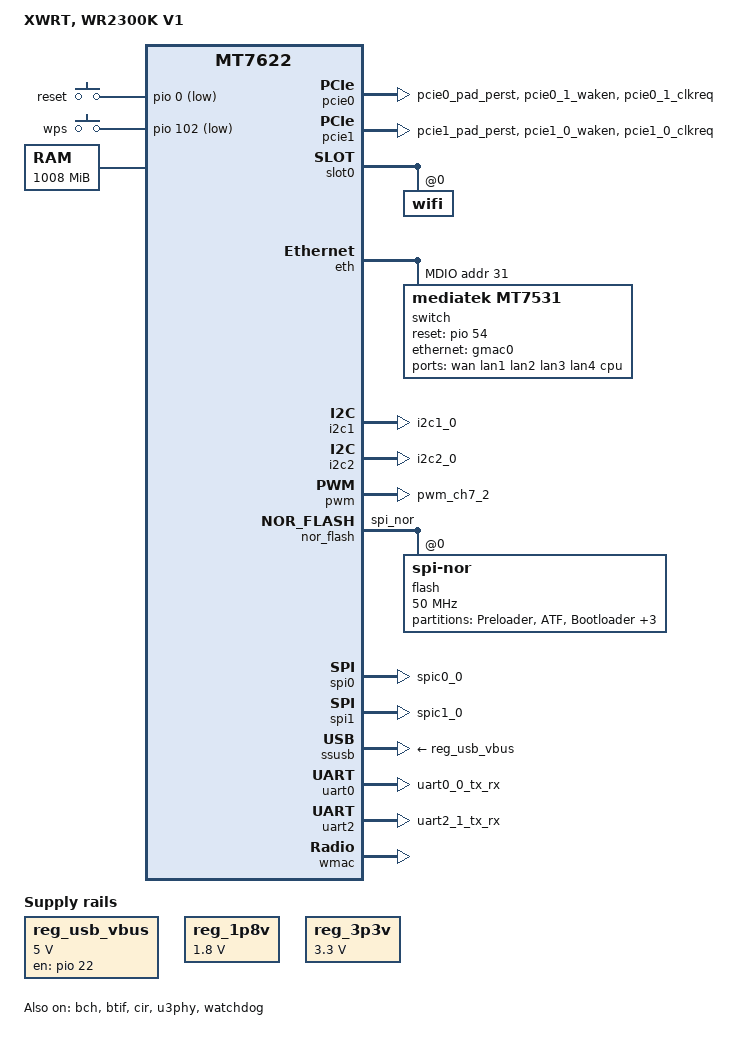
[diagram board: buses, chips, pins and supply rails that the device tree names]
// SPDX-License-Identifier: (GPL-2.0-only OR MIT)
/*
 * Copyright (c) 2017 MediaTek Inc.
 * Author: Ming Huang <ming.huang@mediatek.com>
 *	   Sean Wang <sean.wang@mediatek.com>
 */

/dts-v1/;
#include <dt-bindings/input/input.h>
#include <dt-bindings/gpio/gpio.h>

#include "mt7622.dtsi"
#include "mt6380.dtsi"

/ {
	model = "XWRT, WR2300K V1";
	compatible = "xwrt,wr3200k-v1", "mediatek,mt7622";

	aliases {
		serial0 = &uart0;
	};

	chosen {
		stdout-path = "serial0:115200n8";
		bootargs = "earlycon=uart8250,mmio32,0x11002000 swiotlb=512 console=ttyS0,115200n8";
	};

	cpus {
		cpu@0 {
			proc-supply = <&mt6380_vcpu_reg>;
			sram-supply = <&mt6380_vm_reg>;
		};

		cpu@1 {
			proc-supply = <&mt6380_vcpu_reg>;
			sram-supply = <&mt6380_vm_reg>;
		};
	};

	gpio-keys {
		compatible = "gpio-keys";
		poll-interval = <100>;

		reset {
			label = "reset";
			linux,code = <KEY_RESTART>;
			gpios = <&pio 0 GPIO_ACTIVE_LOW>;
		};

		wps {
			label = "wps";
			linux,code = <KEY_WPS_BUTTON>;
			gpios = <&pio 102 GPIO_ACTIVE_LOW>;
		};
	};

	reg_usb_vbus: regulator {
		compatible = "regulator-fixed";
		regulator-name = "usb_vbus";
		regulator-min-microvolt = <5000000>;
		regulator-max-microvolt = <5000000>;
		gpio = <&pio 22 GPIO_ACTIVE_LOW>;
		enable-active-high;
	};

	memory {
		reg = <0 0x40000000 0 0x3F000000>;
	};

	reg_1p8v: regulator-1p8v {
		compatible = "regulator-fixed";
		regulator-name = "fixed-1.8V";
		regulator-min-microvolt = <1800000>;
		regulator-max-microvolt = <1800000>;
		regulator-always-on;
	};

	reg_3p3v: regulator-3p3v {
		compatible = "regulator-fixed";
		regulator-name = "fixed-3.3V";
		regulator-min-microvolt = <3300000>;
		regulator-max-microvolt = <3300000>;
		regulator-boot-on;
		regulator-always-on;
	};
};

&pcie0 {
	pinctrl-names = "default";
	pinctrl-0 = <&pcie0_pins>;
	status = "okay";
};

&pcie1 {
	pinctrl-names = "default";
	pinctrl-0 = <&pcie1_pins>;
	status = "okay";
};

&slot0 {
	wifi@0,0 {
		reg = <0x0 0 0 0 0>;
		mediatek,mtd-eeprom = <&factory 0x05000>;
		ieee80211-freq-limit = <5000000 6000000>;
	};
};

&pio {
	i2c1_pins: i2c1-pins {
		mux {
			function = "i2c";
			groups =  "i2c1_0";
		};
	};

	i2c2_pins: i2c2-pins {
		mux {
			function = "i2c";
			groups =  "i2c2_0";
		};
	};

	irrx_pins: irrx-pins {
		mux {
			function = "ir";
			groups =  "ir_1_rx";
		};
	};

	irtx_pins: irtx-pins {
		mux {
			function = "ir";
			groups =  "ir_1_tx";
		};
	};

	pcie0_pins: pcie0-pins {
		mux {
			function = "pcie";
			groups = "pcie0_pad_perst",
				 "pcie0_1_waken",
				 "pcie0_1_clkreq";
		};
	};

	pcie1_pins: pcie1-pins {
		mux {
			function = "pcie";
			groups = "pcie1_pad_perst",
				 "pcie1_0_waken",
				 "pcie1_0_clkreq";
		};
	};

	wled_pins: wled-pins {
		mux {
			function = "led";
			groups = "wled";
		};
	};

	pmic_bus_pins: pmic-bus-pins {
		mux {
			function = "pmic";
			groups = "pmic_bus";
		};
	};

	pwm7_pins: pwm1-2-pins {
		mux {
			function = "pwm";
			groups = "pwm_ch7_2";
		};
	};

	spic0_pins: spic0-pins {
		mux {
			function = "spi";
			groups = "spic0_0";
		};
	};

	spic1_pins: spic1-pins {
		mux {
			function = "spi";
			groups = "spic1_0";
		};
	};

	/* SPI-NOR is shared pin with serial NAND */
	spi_nor_pins: spi-nor-pins {
		mux {
			function = "flash";
			groups = "spi_nor";
		};
	};

	uart0_pins: uart0-pins {
		mux {
			function = "uart";
			groups = "uart0_0_tx_rx" ;
		};
	};

	uart2_pins: uart2-pins {
		mux {
			function = "uart";
			groups = "uart2_1_tx_rx" ;
		};
	};

	watchdog_pins: watchdog-pins {
		mux {
			function = "watchdog";
			groups = "watchdog";
		};
	};
};

&bch {
	status = "okay";
};

&btif {
	status = "okay";
};

&cir {
	pinctrl-names = "default";
	pinctrl-0 = <&irrx_pins>;
	status = "okay";
};

&eth {
	status = "okay";

	gmac0: mac@0 {
		compatible = "mediatek,eth-mac";
		reg = <0>;
		phy-mode = "2500base-x";
		nvmem-cells = <&macaddr_factory_4>;
		nvmem-cell-names = "mac-address";

		fixed-link {
			speed = <2500>;
			full-duplex;
			pause;
		};
	};

	mdio: mdio-bus {
		#address-cells = <1>;
		#size-cells = <0>;

		switch@1f {
			compatible = "mediatek,mt7531";
			reg = <0x1f>;
			reset-gpios = <&pio 54 0>;

			ports {
				#address-cells = <1>;
				#size-cells = <0>;

				wan: port@0 {
					reg = <0>;
					label = "wan";
					nvmem-cells = <&macaddr_factory_4>;
					nvmem-cell-names = "mac-address";
				};

				port@1 {
					reg = <1>;
					label = "lan1";
					nvmem-cells = <&macaddr_factory_4>;
					nvmem-cell-names = "mac-address";
					mac-address-increment = <1>;
				};

				port@2 {
					reg = <2>;
					label = "lan2";
					nvmem-cells = <&macaddr_factory_4>;
					nvmem-cell-names = "mac-address";
					mac-address-increment = <2>;
				};

				port@3 {
					reg = <3>;
					label = "lan3";
					nvmem-cells = <&macaddr_factory_4>;
					nvmem-cell-names = "mac-address";
					mac-address-increment = <3>;
				};

				port@4 {
					reg = <4>;
					label = "lan4";
					nvmem-cells = <&macaddr_factory_4>;
					nvmem-cell-names = "mac-address";
					mac-address-increment = <4>;
				};

				port@6 {
					reg = <6>;
					label = "cpu";
					ethernet = <&gmac0>;
					phy-mode = "2500base-x";

					fixed-link {
						speed = <2500>;
						full-duplex;
						pause;
					};
				};
			};
		};

	};
};

&i2c1 {
	pinctrl-names = "default";
	pinctrl-0 = <&i2c1_pins>;
	status = "okay";
};

&i2c2 {
	pinctrl-names = "default";
	pinctrl-0 = <&i2c2_pins>;
	status = "okay";
};

&pwm {
	pinctrl-names = "default";
	pinctrl-0 = <&pwm7_pins>;
	status = "okay";
};

&pwrap {
	pinctrl-names = "default";
	pinctrl-0 = <&pmic_bus_pins>;

	status = "okay";
};

&sata {
	status = "disabled";
};

&sata_phy {
	status = "disabled";
};

&nor_flash {
	pinctrl-names = "default";
	pinctrl-0 = <&spi_nor_pins>;
	status = "okay";

	flash@0 {
		compatible = "jedec,spi-nor";
		spi-max-frequency = <50000000>;
		reg = <0>;
		spi-rx-bus-width = <2>;
		spi-tx-bus-width = <2>;
		#address-cells = <1>;
		#size-cells = <1>;
		partition@0 {
			label = "Preloader";
			reg = <0x00000 0x40000>;
		};
		partition@40000 {
			label = "ATF";
			reg = <0x40000 0x20000>;
		};
		partition@60000 {
			label = "Bootloader";
			reg = <0x60000 0x40000>;
		};
		partition@a0000 {
			label = "Config";
			reg = <0xa0000 0x20000>;
		};
		factory: partition@c0000 {
			label = "factory";
			reg = <0xc0000 0x80000>;
		};
		partition@140000 {
			label = "firmware";
			reg = <0x140000 0x1ec0000>;
		};
	};
};

&spi0 {
	pinctrl-names = "default";
	pinctrl-0 = <&spic0_pins>;
	status = "okay";
};

&spi1 {
	pinctrl-names = "default";
	pinctrl-0 = <&spic1_pins>;
	status = "okay";
};

&ssusb {
	vusb33-supply = <&reg_3p3v>;
	vbus-supply = <&reg_usb_vbus>;
	status = "okay";
};

&u3phy {
	status = "okay";
};

&uart0 {
	pinctrl-names = "default";
	pinctrl-0 = <&uart0_pins>;
	status = "okay";
};

&uart2 {
	pinctrl-names = "default";
	pinctrl-0 = <&uart2_pins>;
	status = "okay";
};

&watchdog {
	pinctrl-names = "default";
	pinctrl-0 = <&watchdog_pins>;
	status = "okay";
};

&wmac {
	mediatek,mtd-eeprom = <&factory 0x0000>;
	status = "okay";
};

&factory {
	compatible = "nvmem-cells";
	#address-cells = <1>;
	#size-cells = <1>;

	macaddr_factory_4: macaddr@4 {
		reg = <0x4 0x6>;
	};
};
